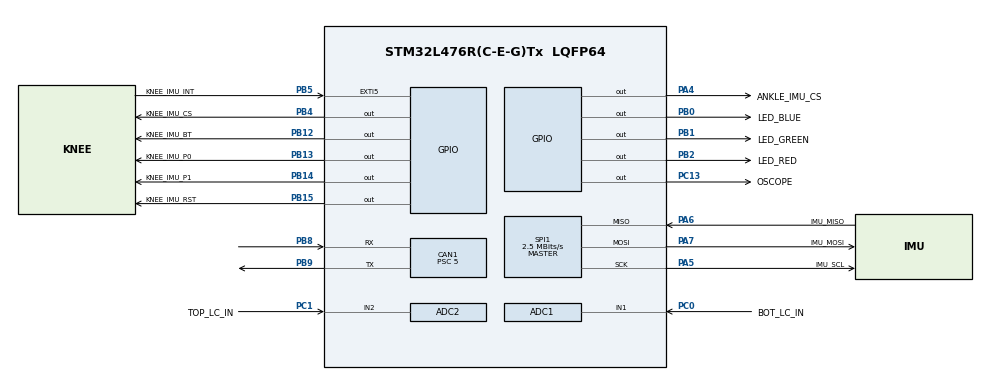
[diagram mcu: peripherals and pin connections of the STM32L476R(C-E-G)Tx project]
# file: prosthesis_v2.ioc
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ADC1.Channel-0\#ChannelRegularConversion=ADC_CHANNEL_1
ADC1.ClockPrescaler=ADC_CLOCK_ASYNC_DIV4
ADC1.NbrOfConversionFlag=1
ADC1.OffsetNumber-0\#ChannelRegularConversion=ADC_OFFSET_NONE
ADC1.Rank-0\#ChannelRegularConversion=1
ADC1.SamplingTime-0\#ChannelRegularConversion=ADC_SAMPLETIME_2CYCLES_5
ADC1.master=1
ADC2.Channel-0\#ChannelRegularConversion=ADC_CHANNEL_2
ADC2.ClockPrescaler=ADC_CLOCK_ASYNC_DIV4
ADC2.NbrOfConversionFlag=1
ADC2.OffsetNumber-0\#ChannelRegularConversion=ADC_OFFSET_NONE
ADC2.Rank-0\#ChannelRegularConversion=1
ADC2.SamplingTime-0\#ChannelRegularConversion=ADC_SAMPLETIME_2CYCLES_5
CAN1.ABOM=ENABLE
CAN1.BS1=CAN_BS1_13TQ
CAN1.BS2=CAN_BS2_2TQ
CAN1.CalculateBaudRate=1000000
CAN1.CalculateTimeBit=1000
CAN1.CalculateTimeQuantum=62.5
CAN1.NART=DISABLE
CAN1.Prescaler=5
Mcu.Family=STM32L4
Mcu.Name=STM32L476R(C-E-G)Tx
Mcu.Package=LQFP64
NVIC.CAN1_RX0_IRQn=true\:3\:0\:true\:false\:true\:true\:true\:true
NVIC.CAN1_RX1_IRQn=true\:3\:0\:true\:false\:true\:true\:true\:true
NVIC.EXTI9_5_IRQn=true\:2\:0\:true\:false\:true\:true\:true\:true
NVIC.LPTIM2_IRQn=true\:0\:0\:false\:false\:true\:true\:true\:true
NVIC.PriorityGroup=NVIC_PRIORITYGROUP_4
NVIC.SPI1_IRQn=true\:1\:0\:true\:false\:true\:true\:true\:true
PA13\ (JTMS-SWDIO).Mode=Serial_Wire
PA13\ (JTMS-SWDIO).Signal=SYS_JTMS-SWDIO
PA14\ (JTCK-SWCLK).Mode=Serial_Wire
PA14\ (JTCK-SWCLK).Signal=SYS_JTCK-SWCLK
PA4.GPIO_Label=ANKLE_IMU_CS
PA4.Signal=GPIO_Output
PA5.GPIO_Label=IMU_SCL
PA5.Mode=Full_Duplex_Master
PA5.Signal=SPI1_SCK
PA6.GPIO_Label=IMU_MISO
PA6.Mode=Full_Duplex_Master
PA6.Signal=SPI1_MISO
PA7.GPIO_Label=IMU_MOSI
PA7.Mode=Full_Duplex_Master
PA7.Signal=SPI1_MOSI
PB0.GPIO_Label=LED_BLUE
PB0.GPIO_ModeDefaultOutputPP=GPIO_MODE_OUTPUT_OD
PB0.GPIO_PuPd=GPIO_NOPULL
PB0.PinState=GPIO_PIN_SET
PB0.Signal=GPIO_Output
PB1.GPIO_Label=LED_GREEN
PB1.GPIO_ModeDefaultOutputPP=GPIO_MODE_OUTPUT_OD
PB1.GPIO_PuPd=GPIO_NOPULL
PB1.PinState=GPIO_PIN_SET
PB1.Signal=GPIO_Output
PB12.GPIO_Label=KNEE_IMU_BT
PB12.Signal=GPIO_Output
PB13.GPIO_Label=KNEE_IMU_P0
PB13.Signal=GPIO_Output
PB14.GPIO_Label=KNEE_IMU_P1
PB14.Signal=GPIO_Output
PB15.GPIO_Label=KNEE_IMU_RST
PB15.Signal=GPIO_Output
PB2.GPIO_Label=LED_RED
PB2.GPIO_ModeDefaultOutputPP=GPIO_MODE_OUTPUT_OD
PB2.GPIO_PuPd=GPIO_NOPULL
PB2.PinState=GPIO_PIN_SET
PB2.Signal=GPIO_Output
PB4\ (NJTRST).GPIO_Label=KNEE_IMU_CS
PB4\ (NJTRST).Signal=GPIO_Output
PB5.GPIO_Label=KNEE_IMU_INT
PB5.GPIO_ModeDefaultEXTI=GPIO_MODE_IT_FALLING
PB5.GPIO_PuPd=GPIO_PULLUP
PB5.Signal=GPXTI5
PB8.Mode=CAN_Activate
PB8.Signal=CAN1_RX
PB9.Mode=CAN_Activate
PB9.Signal=CAN1_TX
PC0.GPIO_Label=BOT_LC_IN
PC0.Signal=ADCx_IN1
PC1.GPIO_Label=TOP_LC_IN
PC1.Signal=ADCx_IN2
PC13.GPIO_Label=OSCOPE
PC13.Signal=GPIO_Output
PH0-OSC_IN\ (PH0).Mode=HSE-External-Oscillator
PH0-OSC_IN\ (PH0).Signal=RCC_OSC_IN
PH1-OSC_OUT\ (PH1).Mode=HSE-External-Oscillator
PH1-OSC_OUT\ (PH1).Signal=RCC_OSC_OUT
ProjectManager.HeapSize=0x200
ProjectManager.StackSize=0x400
ProjectManager.TargetToolchain=STM32CubeIDE
RCC.ADCCLockSelection=RCC_ADCCLKSOURCE_SYSCLK
RCC.ADCFreq_Value=80000000
RCC.AHBFreq_Value=80000000
RCC.APB1Freq_Value=80000000
RCC.APB1TimFreq_Value=80000000
RCC.APB2Freq_Value=80000000
RCC.APB2TimFreq_Value=80000000
RCC.CortexFreq_Value=80000000
RCC.HCLKFreq_Value=80000000
RCC.HSE_VALUE=48000000
RCC.HSI_VALUE=16000000
RCC.LPTIM2CLockSelection=RCC_LPTIM2CLKSOURCE_LSI
RCC.LSE_VALUE=32768
RCC.MSI_VALUE=4000000
RCC.PLLM=3
RCC.PLLN=10
RCC.PLLSourceVirtual=RCC_PLLSOURCE_HSE
RCC.SYSCLKFreq_VALUE=80000000
RCC.SYSCLKSource=RCC_SYSCLKSOURCE_PLLCLK
RCC.USBFreq_Value=64000000
RCC.VCOOutputFreq_Value=160000000
SH.ADCx_IN1.0=ADC1_IN1,IN1-Single-Ended
SH.ADCx_IN2.0=ADC2_IN2,IN2-Single-Ended
SPI1.BaudRatePrescaler=SPI_BAUDRATEPRESCALER_32
SPI1.CalculateBaudRate=2.5 MBits/s
SPI1.DataSize=SPI_DATASIZE_8BIT
SPI1.Direction=SPI_DIRECTION_2LINES
SPI1.Mode=SPI_MODE_MASTER
SPI1.VirtualType=VM_MASTER
TIM2.Prescaler=79
VP_LPTIM2_VS_LPTIM_counterModeInternalClock.Mode=Counts__internal_clock_event_00
VP_TIM2_VS_ClockSourceINT.Mode=Internal
board=custom

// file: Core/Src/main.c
/* USER CODE BEGIN Header */

/*******************************************************************************
*
* TITLE: Prosthesis v2 Firmware
*
* NOTES
* 1. The below lines can be used to measure on oscilloscope (#include main.h may need to be added to certain files):
*		- LL_GPIO_SetOutputPin(OSCOPE_GPIO_Port, OSCOPE_Pin);
*		- LL_GPIO_ResetOutputPin(OSCOPE_GPIO_Port, OSCOPE_Pin);
*		- LL_GPIO_TogglePin(OSCOPE_GPIO_Port, OSCOPE_Pin);
* 2. Search -> File on "* USER ADDED " will show code added to MX auto-generated files and other resources.
* 3. LED meanings below.
* 		- Flashing blue = Ankle motor not initialized (most likely no motor power)
* 		- Flashing white = Knee motor not initialized (most likely no motor power)
* 		- Solid green = motor(s) are communicating
* 		- Solid red = program in error handler
*
*******************************************************************************/

/* USER CODE END Header */
#include "main.h"
#include "adc.h"
#include "can.h"
#include "lptim.h"
#include "spi.h"
#include "tim.h"
#include "gpio.h"

void SystemClock_Config(void);

/* USER CODE BEGIN 0 */

/*******************************************************************************
* USER ADDED PRELIMINARIES
*******************************************************************************/

#include "akxx-x.h"
#include "bno08x_spi_hal.h"
#include "mpu925x_spi_hal.h"
#include "prosthesis_v2.h"

#include <string.h>

#define LPTIM2_PERIOD	0x3F	// Timer frequency = timer clock frequency / (prescaler * (period + 1))

uint8_t isProsthesisControlRequired = 0;

/******************************************************************************/

/* USER CODE END 0 */

int main(void)
{

  /* MCU Configuration--------------------------------------------------------*/

  /* Reset of all peripherals, Initializes the Flash interface and the Systick. */
  HAL_Init();

  /* Configure the system clock */
  SystemClock_Config();

  /* Initialize all configured peripherals */
  MX_GPIO_Init();
  MX_SPI1_Init();
  MX_TIM2_Init();
  MX_LPTIM2_Init();
  MX_ADC1_Init();
  MX_ADC2_Init();
  MX_CAN1_Init();

  /* Infinite loop */
  /* USER CODE BEGIN WHILE */

/*******************************************************************************
* USER ADDED DEFINITIONS
*******************************************************************************/

	AKxx_x_Init_t Motor_Init[AKXX_X_NUMBER_OF_DEVICES];
	Motor_Init[AnkleIndex].canId = AnkleMotorCAN_ID;
	Motor_Init[AnkleIndex].Motor = AK80_9;

	Motor_Init[KneeIndex].canId = KneeMotorCAN_ID;
	Motor_Init[KneeIndex].Motor = AK70_10;

	CAN_FilterTypeDef CAN1_FilterInit[AKXX_X_NUMBER_OF_DEVICES];
	CAN1_FilterInit[AnkleIndex].FilterActivation = ENABLE;
	CAN1_FilterInit[AnkleIndex].FilterBank = 0;
	CAN1_FilterInit[AnkleIndex].FilterFIFOAssignment = CAN_RX_FIFO0;
	CAN1_FilterInit[AnkleIndex].FilterIdHigh = AnkleMotorCAN_ID << 5;
	CAN1_FilterInit[AnkleIndex].FilterIdLow = AnkleMotorCAN_ID << 5;
	CAN1_FilterInit[AnkleIndex].FilterMaskIdHigh = AnkleMotorCAN_ID << 5;
	CAN1_FilterInit[AnkleIndex].FilterMaskIdLow = AnkleMotorCAN_ID << 5;
	CAN1_FilterInit[AnkleIndex].FilterMode = CAN_FILTERMODE_IDLIST;
	CAN1_FilterInit[AnkleIndex].FilterScale = CAN_FILTERSCALE_16BIT;

	memcpy(&CAN1_FilterInit[KneeIndex], &CAN1_FilterInit[AnkleIndex], sizeof(CAN_FilterTypeDef));
	CAN1_FilterInit[KneeIndex].FilterBank = 1;
	CAN1_FilterInit[KneeIndex].FilterFIFOAssignment = CAN_RX_FIFO1;
	CAN1_FilterInit[KneeIndex].FilterIdHigh = KneeMotorCAN_ID << 5;
	CAN1_FilterInit[KneeIndex].FilterIdLow = KneeMotorCAN_ID << 5;
	CAN1_FilterInit[KneeIndex].FilterMaskIdHigh = KneeMotorCAN_ID << 5;
	CAN1_FilterInit[KneeIndex].FilterMaskIdLow = KneeMotorCAN_ID << 5;

	MPU925x_Init_t AnkleIMU_Init;
	AnkleIMU_Init.SPI_Handle = &hspi1;
	AnkleIMU_Init.CS_GPIOx = ANKLE_IMU_CS_GPIO_Port;
	AnkleIMU_Init.csPin = ANKLE_IMU_CS_Pin;

	Prosthesis_Init_t Prosthesis_Init;
	Prosthesis_Init.CPC_Spec = Specific;
	Prosthesis_Init.Joint = Combined;
	Prosthesis_Init.Side = Right;

/*******************************************************************************
* USER ADDED INITIALIZATIONS
*******************************************************************************/

	LL_LPTIM_Enable(LPTIM2);
	LL_LPTIM_EnableIT_ARRM(LPTIM2);
	LL_LPTIM_SetAutoReload(LPTIM2, LPTIM2_PERIOD);
	LL_LPTIM_StartCounter(LPTIM2, LL_LPTIM_OPERATING_MODE_CONTINUOUS);

	LL_ADC_Enable(ADC1);
	LL_ADC_Enable(ADC2);

	if(HAL_CAN_ConfigFilter(&hcan1, &CAN1_FilterInit[AnkleIndex]))
		ErrorHandler(CAN_Error);
	if(HAL_CAN_ConfigFilter(&hcan1, &CAN1_FilterInit[KneeIndex]))
		ErrorHandler(CAN_Error);
	if(HAL_CAN_Start(&hcan1))
		ErrorHandler(CAN_Error);

	uint32_t txMailbox;
	if((Prosthesis_Init.Joint == Ankle) || (Prosthesis_Init.Joint == Combined))
	{
		LL_mDelay(10);
	  	if(MPU925x_Init(0, &AnkleIMU_Init))
	  		ErrorHandler(AnkleIMU_Error);
		MPU925x_SetGyroSensitivity(0, MPU925x_GyroSensitivity_1000dps);

		AKxx_x_ReadData_t RxData_Float;
		while(AKxx_x_Init(AnkleIndex, &Motor_Init[AnkleIndex]))
		{
			ActivateLED(Blue);
			LL_mDelay(50);
			ActivateLED(NoColor);
			LL_mDelay(50);
		}
		ActivateLED(NoColor);

		if(AKxx_x_ZeroMotorPosition(AnkleIndex, &txMailbox))
			ErrorHandler(AnkleMotorError);
		if(AKxx_x_PollMotorReadWith10msTimeout(&RxData_Float))
			ErrorHandler(AnkleMotorError);
	}
	if((Prosthesis_Init.Joint == Knee) || (Prosthesis_Init.Joint == Combined))
	{
	  	if(BNO08x_Init())
	  		ErrorHandler(KneeIMU_Error);

		AKxx_x_ReadData_t RxData_Float;
		while(AKxx_x_Init(KneeIndex, &Motor_Init[KneeIndex]))
		{
			ActivateLED(White);
			LL_mDelay(50);
			ActivateLED(NoColor);
			LL_mDelay(50);
		}
		ActivateLED(NoColor);

		if(AKxx_x_ZeroMotorPosition(KneeIndex, &txMailbox))
			ErrorHandler(KneeMotorError);
		if(AKxx_x_PollMotorReadWith10msTimeout(&RxData_Float))
			ErrorHandler(KneeMotorError);
	}

	InitProsthesisControl(&Prosthesis_Init);

/*******************************************************************************
* USER ADDED OPERATION MODE
*******************************************************************************/

	operationMode = StateMachineWithPassiveEmulation;

	if(((operationMode == PassiveEmulation) || (operationMode == StateMachineWithPassiveEmulation)) && (Prosthesis_Init.Joint == Ankle))
		ErrorHandler(OperationModeError);

/*******************************************************************************
* USER ADDED MAIN LOOP
*******************************************************************************/

	while(1)
	{
		if(isProsthesisControlRequired)
		{
			RunProsthesisControl();
			isProsthesisControlRequired = 0;
		}

/******************************************************************************/

    /* USER CODE END WHILE */

  }
}

void SystemClock_Config(void)
{
  LL_FLASH_SetLatency(LL_FLASH_LATENCY_4);
  while(LL_FLASH_GetLatency()!= LL_FLASH_LATENCY_4)
  {
  }
  LL_PWR_SetRegulVoltageScaling(LL_PWR_REGU_VOLTAGE_SCALE1);
  LL_RCC_HSE_Enable();

   /* Wait till HSE is ready */
  while(LL_RCC_HSE_IsReady() != 1)
  {

  }
  LL_RCC_LSI_Enable();

   /* Wait till LSI is ready */
  while(LL_RCC_LSI_IsReady() != 1)
  {

  }
  LL_RCC_PLL_ConfigDomain_SYS(LL_RCC_PLLSOURCE_HSE, LL_RCC_PLLM_DIV_3, 10, LL_RCC_PLLR_DIV_2);
  LL_RCC_PLL_EnableDomain_SYS();
  LL_RCC_PLL_Enable();

   /* Wait till PLL is ready */
  while(LL_RCC_PLL_IsReady() != 1)
  {

  }
  LL_RCC_SetSysClkSource(LL_RCC_SYS_CLKSOURCE_PLL);

   /* Wait till System clock is ready */
  while(LL_RCC_GetSysClkSource() != LL_RCC_SYS_CLKSOURCE_STATUS_PLL)
  {

  }
  LL_RCC_SetAHBPrescaler(LL_RCC_SYSCLK_DIV_1);
  LL_RCC_SetAPB1Prescaler(LL_RCC_APB1_DIV_1);
  LL_RCC_SetAPB2Prescaler(LL_RCC_APB2_DIV_1);
  LL_SetSystemCoreClock(80000000);

   /* Update the time base */
  if (HAL_InitTick (TICK_INT_PRIORITY) != HAL_OK)
  {
    Error_Handler();
  }
}

void Error_Handler(void)
{
  __disable_irq();
  while (1)
  {
  }
}
